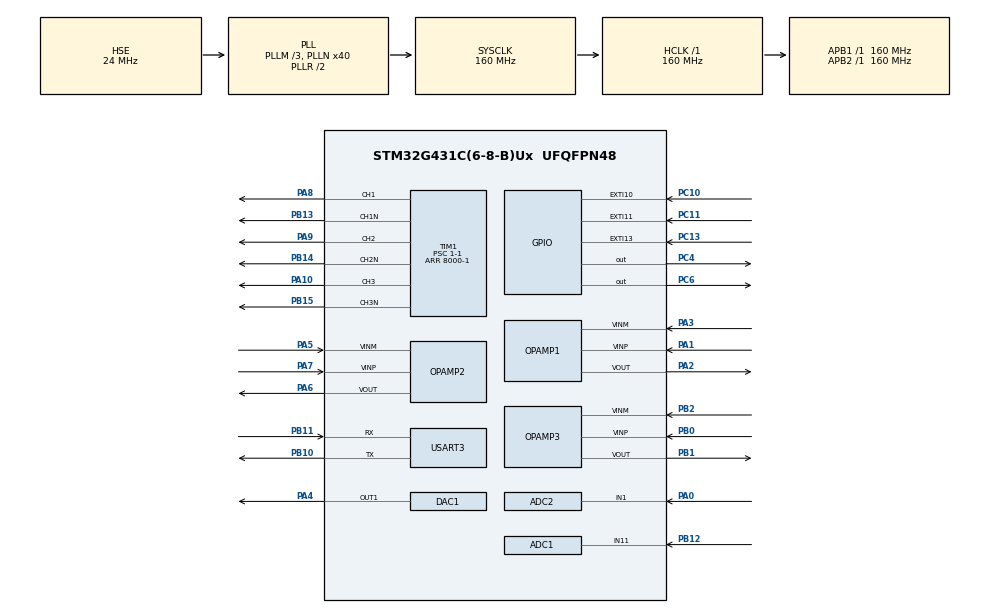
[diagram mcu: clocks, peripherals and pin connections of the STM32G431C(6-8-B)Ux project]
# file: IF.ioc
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ADC1.Channel-0\#ChannelRegularConversion=ADC_CHANNEL_11
ADC1.ClockPrescaler=ADC_CLOCK_ASYNC_DIV4
ADC1.EnableInjectedConversion=ENABLE
ADC1.ExternalTrigInjecConv=ADC_EXTERNALTRIGINJEC_T1_CC4
ADC1.InjNumberOfConversion=2
ADC1.InjectedChannel-1\#ChannelInjectedConversion=ADC_CHANNEL_3
ADC1.InjectedChannel-2\#ChannelInjectedConversion=ADC_CHANNEL_12
ADC1.InjectedOffsetNumber-1\#ChannelInjectedConversion=ADC_OFFSET_NONE
ADC1.InjectedOffsetNumber-2\#ChannelInjectedConversion=ADC_OFFSET_NONE
ADC1.InjectedRank-1\#ChannelInjectedConversion=1
ADC1.InjectedRank-2\#ChannelInjectedConversion=2
ADC1.InjectedSamplingTime-1\#ChannelInjectedConversion=ADC_SAMPLETIME_2CYCLES_5
ADC1.InjectedSamplingTime-2\#ChannelInjectedConversion=ADC_SAMPLETIME_2CYCLES_5
ADC1.NbrOfConversion=1
ADC1.NbrOfConversionFlag=1
ADC1.OffsetNumber-0\#ChannelRegularConversion=ADC_OFFSET_NONE
ADC1.Rank-0\#ChannelRegularConversion=1
ADC1.Rank1_Channel=ADC_CHANNEL_3
ADC1.Rank2_Channel=ADC_CHANNEL_12
ADC1.SamplingTime-0\#ChannelRegularConversion=ADC_SAMPLETIME_2CYCLES_5
ADC1.master=1
ADC2.Channel-0\#ChannelRegularConversion=ADC_CHANNEL_1
ADC2.ClockPrescaler=ADC_CLOCK_ASYNC_DIV4
ADC2.EnableInjectedConversion=ENABLE
ADC2.ExternalTrigInjecConv=ADC_EXTERNALTRIGINJEC_T1_CC4
ADC2.InjNumberOfConversion=1
ADC2.InjectedChannel-1\#ChannelInjectedConversion=ADC_CHANNEL_3
ADC2.InjectedOffsetNumber-1\#ChannelInjectedConversion=ADC_OFFSET_NONE
ADC2.InjectedRank-1\#ChannelInjectedConversion=1
ADC2.InjectedSamplingTime-1\#ChannelInjectedConversion=ADC_SAMPLETIME_2CYCLES_5
ADC2.NbrOfConversionFlag=1
ADC2.OffsetNumber-0\#ChannelRegularConversion=ADC_OFFSET_NONE
ADC2.Rank-0\#ChannelRegularConversion=1
ADC2.SamplingTime-0\#ChannelRegularConversion=ADC_SAMPLETIME_2CYCLES_5
COMP1.TriggerMode=COMP_TRIGGERMODE_IT_RISING
Mcu.Family=STM32G4
Mcu.Name=STM32G431C(6-8-B)Ux
Mcu.Package=UFQFPN48
NVIC.ADC1_2_IRQn=true\:0\:0\:false\:false\:true\:true\:true\:true
NVIC.COMP1_2_3_IRQn=true\:0\:0\:false\:false\:true\:false\:true\:true
NVIC.EXTI15_10_IRQn=true\:0\:0\:false\:false\:true\:true\:true\:true
NVIC.PriorityGroup=NVIC_PRIORITYGROUP_4
NVIC.TIM1_BRK_TIM15_IRQn=true\:0\:0\:false\:false\:true\:true\:true\:true
NVIC.TIM1_UP_TIM16_IRQn=true\:0\:0\:false\:false\:true\:true\:true\:true
PA0.Mode=IN1-Single-Ended
PA0.Signal=ADC2_IN1
PA1.Mode=Standalone
PA1.Signal=OPAMP1_VINP
PA10.Signal=S_TIM1_CH3
PA13.Mode=Serial_Wire
PA13.Signal=SYS_JTMS-SWDIO
PA14.Mode=Serial_Wire
PA14.Signal=SYS_JTCK-SWCLK
PA2.Signal=SharedAnalog_PA2
PA3.Mode=Standalone
PA3.Signal=OPAMP1_VINM
PA4.Signal=COMP_DAC11_group
PA5.Mode=Standalone
PA5.Signal=OPAMP2_VINM
PA6.Signal=SharedAnalog_PA6
PA7.Mode=Standalone
PA7.Signal=OPAMP2_VINP
PA8.Signal=S_TIM1_CH1
PA9.Signal=S_TIM1_CH2
PB0.Mode=Standalone
PB0.Signal=OPAMP3_VINP
PB1.Signal=SharedAnalog_PB1
PB10.Mode=Asynchronous
PB10.Signal=USART3_TX
PB11.Mode=Asynchronous
PB11.Signal=USART3_RX
PB12.Mode=IN11-Single-Ended
PB12.Signal=ADC1_IN11
PB13.Mode=PWM Generation1 CH1 CH1N
PB13.Signal=TIM1_CH1N
PB14.Mode=PWM Generation2 CH2 CH2N
PB14.Signal=TIM1_CH2N
PB15.Mode=PWM Generation3 CH3 CH3N
PB15.Signal=TIM1_CH3N
PB2.Mode=Standalone
PB2.Signal=OPAMP3_VINM
PC10.Signal=GPXTI10
PC11.Signal=GPXTI11
PC13.Signal=GPXTI13
PC4.Signal=GPIO_Output
PC6.Signal=GPIO_Output
PF0-OSC_IN.Mode=HSE-External-Oscillator
PF0-OSC_IN.Signal=RCC_OSC_IN
PF1-OSC_OUT.Mode=HSE-External-Oscillator
PF1-OSC_OUT.Signal=RCC_OSC_OUT
ProjectManager.HeapSize=0x200
ProjectManager.StackSize=0x400
ProjectManager.TargetToolchain=Makefile
RCC.ADC12Freq_Value=160000000
RCC.AHBFreq_Value=160000000
RCC.APB1Freq_Value=160000000
RCC.APB1TimFreq_Value=160000000
RCC.APB2Freq_Value=160000000
RCC.APB2TimFreq_Value=160000000
RCC.CortexFreq_Value=160000000
RCC.EXTERNAL_CLOCK_VALUE=12288000
RCC.HCLKFreq_Value=160000000
RCC.HSE_VALUE=24000000
RCC.HSI48_VALUE=48000000
RCC.HSI_VALUE=16000000
RCC.LSE_VALUE=32768
RCC.PLLM=RCC_PLLM_DIV3
RCC.PLLN=40
RCC.PLLSourceVirtual=RCC_PLLSOURCE_HSE
RCC.SYSCLKFreq_VALUE=160000000
RCC.SYSCLKSource=RCC_SYSCLKSOURCE_PLLCLK
RCC.USBFreq_Value=160000000
RCC.VCOOutputFreq_Value=320000000
SH.COMP_DAC11_group.0=DAC1_OUT1,DAC_OUT1
SH.S_TIM1_CH1.0=TIM1_CH1,PWM Generation1 CH1 CH1N
SH.S_TIM1_CH2.0=TIM1_CH2,PWM Generation2 CH2 CH2N
SH.S_TIM1_CH3.0=TIM1_CH3,PWM Generation3 CH3 CH3N
SH.SharedAnalog_PA2.0=OPAMP1_VOUT,Standalone
SH.SharedAnalog_PA2.1=ADC1_IN3,IN3-Single-Ended
SH.SharedAnalog_PA6.0=OPAMP2_VOUT,Standalone
SH.SharedAnalog_PA6.1=ADC2_IN3,IN3-Single-Ended
SH.SharedAnalog_PB1.0=OPAMP3_VOUT,Standalone
SH.SharedAnalog_PB1.1=ADC1_IN12,IN12-Single-Ended
SH.SharedAnalog_PB1.2=COMP1_INP,INP
STMicroelectronics.X-CUBE-ALGOBUILD.1.3.0.LibraryCcDSPOoLibraryJjDSPOoLibrary=true
TIM1.BreakFilter=2
TIM1.BreakState=TIM_BREAK_ENABLE
TIM1.Channel-PWM\ Generation1\ CH1\ CH1N=TIM_CHANNEL_1
TIM1.Channel-PWM\ Generation2\ CH2\ CH2N=TIM_CHANNEL_2
TIM1.Channel-PWM\ Generation3\ CH3\ CH3N=TIM_CHANNEL_3
TIM1.Channel-PWM\ Generation4\ No\ Output=TIM_CHANNEL_4
TIM1.ClockDivision=TIM_CLOCKDIVISION_DIV2
TIM1.CounterMode=TIM_COUNTERMODE_CENTERALIGNED1
TIM1.DeadTime=120
TIM1.OCMode_PWM-PWM\ Generation4\ No\ Output=TIM_OCMODE_PWM2
TIM1.PeriodNoDither=8000-1
TIM1.Prescaler=1-1
TIM1.PulseNoDither_4=8000-2
TIM1.SourceBRKCOMP1=TIM_BREAKINPUTSOURCE_ENABLE
TIM1.TIM_MasterOutputTrigger=TIM_TRGO_OC4REF
USART3.VirtualMode-Asynchronous=VM_ASYNC
VP_COMP1_VS_DAC3OUT1.Mode=INM_DAC3OUT1
VP_DAC3_VS_DACI1.Mode=DAC_OUT1_Int
VP_STMicroelectronics.X-CUBE-ALGOBUILD_VS_DSPOoLibraryJjLibrary_1.3.0_1.3.0.Mode=DSPOoLibraryJjLibrary
VP_SYS_VS_DBSignals.Mode=DisableDeadBatterySignals
VP_TIM1_VS_ClockSourceINT.Mode=Internal
VP_TIM1_VS_no_output4.Mode=PWM Generation4 No Output
board=custom

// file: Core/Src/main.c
/* USER CODE BEGIN Header */
/**
 ******************************************************************************
 * @file           : main.c
 * @brief          : Main program body
 ******************************************************************************
 * @attention
 *
 * Copyright (c) 2023 STMicroelectronics.
 * All rights reserved.
 *
 * This software is licensed under terms that can be found in the LICENSE file
 * in the root directory of this software component.
 * If no LICENSE file comes with this software, it is provided AS-IS.
 *
 ******************************************************************************
 */
/* USER CODE END Header */
#include "main.h"
#include "adc.h"
#include "comp.h"
#include "dac.h"
#include "opamp.h"
#include "tim.h"
#include "usart.h"
#include "gpio.h"

/* USER CODE BEGIN Includes */
#include "IF0.h"
#include <stdio.h>
/* USER CODE END Includes */

void SystemClock_Config(void);

/* USER CODE BEGIN 0 */
float Ia, Ib, Ic;
float load_data[5];
uint16_t adc1_in1, adc1_in2, adc1_in3, adc1_in4, adc_vbus;
uint16_t IA_Offset, IB_Offset, IC_Offset;
uint8_t ADC_offset  = 0;
uint16_t finalspeed = 0;
uint8_t Motor_state = 0;
/* USER CODE END 0 */

int main(void)
{

    /* MCU Configuration--------------------------------------------------------*/

    /* Reset of all peripherals, Initializes the Flash interface and the Systick. */
    HAL_Init();

    /* Configure the system clock */
    SystemClock_Config();

    /* Initialize all configured peripherals */
    MX_GPIO_Init();
    MX_ADC1_Init();
    MX_ADC2_Init();
    MX_COMP1_Init();
    MX_DAC3_Init();
    MX_OPAMP1_Init();
    MX_OPAMP2_Init();
    MX_OPAMP3_Init();
    MX_TIM1_Init();
    MX_USART3_UART_Init();
    MX_DAC1_Init();
    /* USER CODE BEGIN 2 */
    HAL_OPAMP_Start(&hopamp1);
    HAL_OPAMP_Start(&hopamp2);
    HAL_OPAMP_Start(&hopamp3);
    HAL_ADCEx_Calibration_Start(&hadc1, ADC_SINGLE_ENDED);
    HAL_ADCEx_Calibration_Start(&hadc2, ADC_SINGLE_ENDED);
    __HAL_ADC_CLEAR_FLAG(&hadc1, ADC_FLAG_JEOC);
    __HAL_ADC_CLEAR_FLAG(&hadc1, ADC_FLAG_EOC);
    __HAL_ADC_CLEAR_FLAG(&hadc2, ADC_FLAG_JEOC);
    HAL_ADCEx_InjectedStart_IT(&hadc1);
    HAL_ADCEx_InjectedStart(&hadc2);
    TIM1->ARR  = 8000 - 1;
    TIM1->CCR4 = 8000 - 2;
    HAL_TIM_Base_Start(&htim1);
    HAL_TIM_PWM_Start(&htim1, TIM_CHANNEL_4);
    /* USER CODE END 2 */

    /* Infinite loop */
    while (1) {

        /* USER CODE BEGIN 3 */
        HAL_ADC_Start(&hadc2);
        adc_vbus  = HAL_ADC_GetValue(&hadc2);
        rtU.u_bus = adc_vbus * 3.3f / 4096 * 26;
        printf("%.2f,%.2f,%.2f\r\n", load_data[0], load_data[1], load_data[2]);
        HAL_Delay(1);
    }
    /* USER CODE END 3 */
}

void SystemClock_Config(void)
{
    RCC_OscInitTypeDef RCC_OscInitStruct = {0};
    RCC_ClkInitTypeDef RCC_ClkInitStruct = {0};

    /** Configure the main internal regulator output voltage
     */
    HAL_PWREx_ControlVoltageScaling(PWR_REGULATOR_VOLTAGE_SCALE1_BOOST);

    /** Initializes the RCC Oscillators according to the specified parameters
     * in the RCC_OscInitTypeDef structure.
     */
    RCC_OscInitStruct.OscillatorType = RCC_OSCILLATORTYPE_HSE;
    RCC_OscInitStruct.HSEState       = RCC_HSE_ON;
    RCC_OscInitStruct.PLL.PLLState   = RCC_PLL_ON;
    RCC_OscInitStruct.PLL.PLLSource  = RCC_PLLSOURCE_HSE;
    RCC_OscInitStruct.PLL.PLLM       = RCC_PLLM_DIV3;
    RCC_OscInitStruct.PLL.PLLN       = 40;
    RCC_OscInitStruct.PLL.PLLP       = RCC_PLLP_DIV2;
    RCC_OscInitStruct.PLL.PLLQ       = RCC_PLLQ_DIV2;
    RCC_OscInitStruct.PLL.PLLR       = RCC_PLLR_DIV2;
    if (HAL_RCC_OscConfig(&RCC_OscInitStruct) != HAL_OK) {
        Error_Handler();
    }

    /** Initializes the CPU, AHB and APB buses clocks
     */
    RCC_ClkInitStruct.ClockType      = RCC_CLOCKTYPE_HCLK | RCC_CLOCKTYPE_SYSCLK | RCC_CLOCKTYPE_PCLK1 | RCC_CLOCKTYPE_PCLK2;
    RCC_ClkInitStruct.SYSCLKSource   = RCC_SYSCLKSOURCE_PLLCLK;
    RCC_ClkInitStruct.AHBCLKDivider  = RCC_SYSCLK_DIV1;
    RCC_ClkInitStruct.APB1CLKDivider = RCC_HCLK_DIV1;
    RCC_ClkInitStruct.APB2CLKDivider = RCC_HCLK_DIV1;

    if (HAL_RCC_ClockConfig(&RCC_ClkInitStruct, FLASH_LATENCY_4) != HAL_OK) {
        Error_Handler();
    }
}

/* USER CODE BEGIN 4 */
void HAL_GPIO_EXTI_Callback(uint16_t GPIO_Pin)
{
    if (GPIO_PIN_13 == GPIO_Pin) {
        Motor_state = ~Motor_state;
        if (0 == Motor_state) {
            rtU.Motor_OnOff = 0;
            HAL_TIM_PWM_Stop(&htim1, TIM_CHANNEL_1);
            HAL_TIM_PWM_Stop(&htim1, TIM_CHANNEL_2);
            HAL_TIM_PWM_Stop(&htim1, TIM_CHANNEL_3);
            HAL_TIMEx_PWMN_Stop(&htim1, TIM_CHANNEL_1);
            HAL_TIMEx_PWMN_Stop(&htim1, TIM_CHANNEL_2);
            HAL_TIMEx_PWMN_Stop(&htim1, TIM_CHANNEL_3);
        } else {
            rtU.Motor_OnOff = 1;
            HAL_TIM_PWM_Start(&htim1, TIM_CHANNEL_1);
            HAL_TIM_PWM_Start(&htim1, TIM_CHANNEL_2);
            HAL_TIM_PWM_Start(&htim1, TIM_CHANNEL_3);
            HAL_TIMEx_PWMN_Start(&htim1, TIM_CHANNEL_1);
            HAL_TIMEx_PWMN_Start(&htim1, TIM_CHANNEL_2);
            HAL_TIMEx_PWMN_Start(&htim1, TIM_CHANNEL_3);
        }
    }
}

void HAL_ADCEx_InjectedConvCpltCallback(ADC_HandleTypeDef *hadc)
{
    static uint8_t cnt;
    if (hadc == &hadc1) {
        if (ADC_offset == 0) {
            cnt++;
            adc1_in1 = hadc1.Instance->JDR1;
            adc1_in2 = hadc2.Instance->JDR1;
            adc1_in3 = hadc1.Instance->JDR2;
            IA_Offset += adc1_in1;
            IB_Offset += adc1_in2;
            IC_Offset += adc1_in3;
            if (cnt >= 10) {
                ADC_offset = 1;
                IA_Offset  = IA_Offset / 10;
                IB_Offset  = IB_Offset / 10;
                IC_Offset  = IC_Offset / 10;
            }
        } else {
            adc1_in1 = hadc1.Instance->JDR1;
            adc1_in3 = hadc1.Instance->JDR2;
            adc1_in2 = hadc2.Instance->JDR1;
            rtU.ia   = (adc1_in1 - IA_Offset) * 0.02197f;
            rtU.ib   = (adc1_in2 - IB_Offset) * 0.02197f;
            rtU.ic   = (adc1_in3 - IC_Offset) * 0.02197f;
            IF0_step();
            TIM1->CCR1   = rtY.DutyOut[0] * 8000;
            TIM1->CCR2   = rtY.DutyOut[1] * 8000;
            TIM1->CCR3   = rtY.DutyOut[2] * 8000;
            load_data[0] = rtU.ia;
            load_data[1] = rtU.ib;
            load_data[2] = rtU.ic;
            load_data[3] = 0;
            load_data[4] = 0;
        }
    }

    /* NOTE : This function should not be modified. When the callback is needed,
              function HAL_ADCEx_InjectedConvCpltCallback must be implemented in the user file.
    */
}
/* USER CODE END 4 */

void Error_Handler(void)
{
    __disable_irq();
    while (1) {
    }
}
